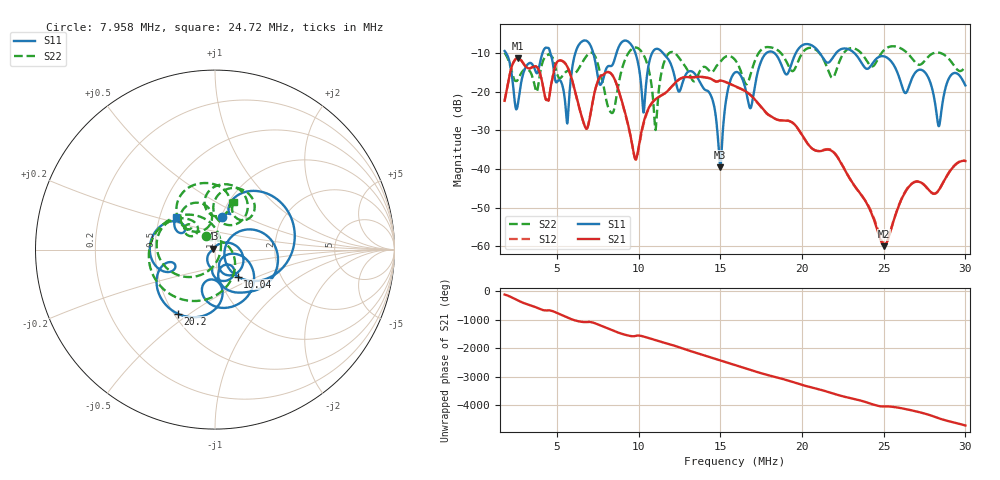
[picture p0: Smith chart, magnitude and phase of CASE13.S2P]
!Agilent Technologies,E5061B,MY49101568,A.02.00
!Date: Wed Mar 01 16:35:23 2023
!Data & Calibration Information:
!Freq	S11:SOLT2(OFF)	S21:SOLT2(OFF)	S12:SOLT2(OFF)	S22:SOLT2(OFF)
# Hz S dB R 50
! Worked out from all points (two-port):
!   1155 points, 1.8 MHz to 30 MHz, reference 50 ohm
!   highest |S21| = -11.26 dB at 2.606 MHz (marker M1); lowest = -60.0 dB at 25.04 MHz (marker M2)
!   |S21| within 3 dB of the highest: 2.185 MHz to 3.877 MHz (1.692 MHz wide, 55.8 % of centre); 4.831 MHz to 5.718 MHz (887 kHz wide, 16.8 % of centre)
!   lowest |S11| = -39.6 dB at 15 MHz (marker M3), VSWR 1.02, Z = 49.1 + j0.506 ohm
!   |S11| at or under -10 dB: 1.895 MHz to 4.117 MHz (2.222 MHz wide, 73.9 % of centre); 11.5 MHz to 17.81 MHz (6.317 MHz wide, 43.1 % of centre); 23.21 MHz to end of sweep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
!   |S22| runs from -29.9 to -8.2 dB; largest |S21 - S12| = 0.0055
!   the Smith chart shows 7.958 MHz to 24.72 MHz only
!   S11 on the Smith chart (normalised r, x): 7.958 MHz: 1.01, +0.38; 10.04 MHz: 1.22, -0.38; 20.2 MHz: 0.52, -0.45; 24.72 MHz: 0.61, +0.24
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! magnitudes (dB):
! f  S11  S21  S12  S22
! 1.8 MHz  -9.4  -22.4  -22.4  -9.9
! 2.606 MHz  -23.4  -11.3  -11.2  -16.9
! 4.39 MHz  -8.6  -22.1  -22.1  -10.6
! 5.637 MHz  -28.2  -13.5  -13.5  -14.6
! 6.516 MHz  -7.0  -26.4  -26.5  -12.7
! 7.958 MHz  -14.7  -15.2  -15.2  -20.8
! 10.04 MHz  -14.2  -33.5  -34.0  -8.9
! 10.33 MHz  -25.0  -27.6  -28.0  -10.7
! 11.21 MHz  -9.0  -21.4  -21.4  -20.7
! 11.94 MHz  -12.5  -19.1  -19.1  -9.8
! 14.36 MHz  -20.5  -16.5  -16.6  -14.8
! 15 MHz  -39.6  -17.1  -17.2  -12.3
! 15.9 MHz  -15.0  -18.5  -18.6  -11.7
! 16.85 MHz  -24.3  -20.9  -20.9  -15.5
! 17.76 MHz  -10.2  -25.2  -25.3  -8.5
! 20.2 MHz  -7.7  -32.6  -32.6  -9.1
! 20.62 MHz  -8.0  -34.7  -34.7  -8.7
! 24.72 MHz  -11.0  -57.2  -56.8  -11.0
! 25.04 MHz  -10.9  -60.0  -59.8  -9.1
! 25.31 MHz  -11.5  -57.6  -57.6  -8.4
! 28.36 MHz  -28.9  -45.5  -45.5  -9.9
! 30 MHz  -18.4  -38.0  -37.9  -13.5
